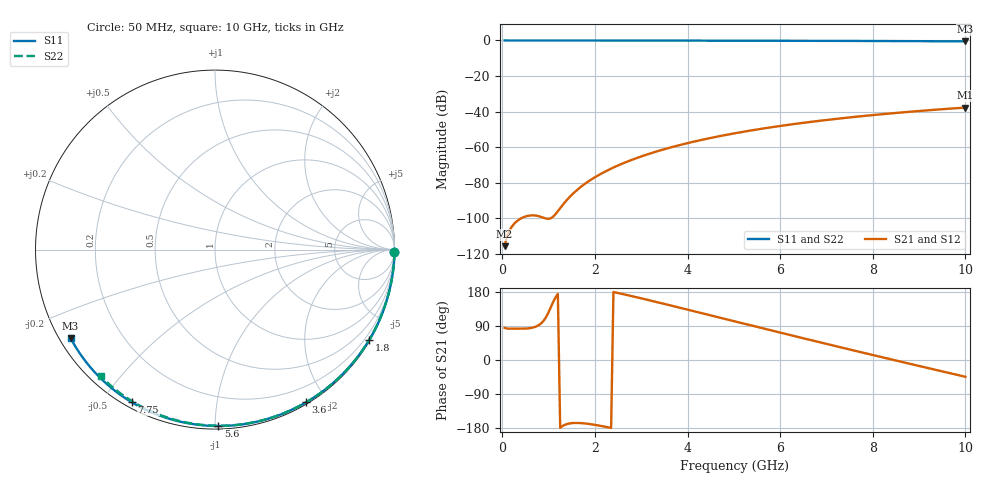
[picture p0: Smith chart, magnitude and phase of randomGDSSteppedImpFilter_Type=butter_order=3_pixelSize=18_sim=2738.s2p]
! freq	dB(S11)	phase(S11)	dB(S12)	phase(S12)
!  dB(S21)	phase(S21)	dB(S22)	phase(S22)
!S-par simulation data
#  GHz  S  DB  R 50
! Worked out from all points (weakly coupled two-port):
!   200 points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, 50 MHz to 10 GHz, reference 50 ohm
!   highest |S21| = -37.76 dB at 10 GHz (marker M1); lowest = -115.8 dB at 50 MHz (marker M2)
!   lowest |S11| = -0.5 dB at 10 GHz (marker M3), VSWR 34.53, Z = 1.56 - j14.1 ohm
!   |S11| at or under -10 dB: nowhere
!   |S22| runs from -0.4 to 0.0 dB; largest |S21 - S12| = 0
!   S11 on the Smith chart (normalised r, x): 50 MHz: open; 1.8 GHz: 0.03, -3.69; 3.6 GHz: 0.02, -1.76; 5.6 GHz: 0.02, -1.02; 7.75 GHz: 0.02, -0.59; 10 GHz: 0.03, -0.28
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0.05  -0.00 -0.9  -115.76 84.9  -115.76 84.9  -0.00 -0.8
0.45  -0.01 -7.7  -99.54 82.7  -99.54 82.7  -0.01 -6.9
0.9  -0.02 -15.3  -99.85 104.8  -99.85 104.8  -0.02 -13.7
1.75  -0.04 -29.5  -81.32 -167.0  -81.32 -167.0  -0.03 -26.3
1.8  -0.04 -30.4  -80.37 -167.6  -80.37 -167.6  -0.03 -27.1
1.85  -0.04 -31.2  -79.47 -168.4  -79.47 -168.4  -0.04 -27.8
2.05  -0.04 -34.5  -76.21 -172.2  -76.21 -172.2  -0.04 -30.7
2.2  -0.05 -36.9  -74.07 -175.6  -74.07 -175.6  -0.04 -32.9
2.55  -0.05 -42.6  -69.77 175.4  -69.77 175.4  -0.05 -38.0
2.95  -0.06 -49.0  -65.73 164.2  -65.73 164.2  -0.06 -43.8
3.4  -0.07 -56.1  -61.94 151.0  -61.94 151.0  -0.07 -50.1
3.6  -0.08 -59.2  -60.46 145.0  -60.46 145.0  -0.07 -52.9
4.3  -0.10 -69.9  -55.98 123.8  -55.98 123.8  -0.09 -62.5
5.05  -0.12 -81.0  -52.09 101.1  -52.09 101.1  -0.11 -72.5
5.6  -0.15 -89.0  -49.69 84.4  -49.69 84.4  -0.13 -79.7
6.15  -0.17 -96.7  -47.57 67.8  -47.57 67.8  -0.15 -86.6
6.7  -0.20 -104.4  -45.69 51.4  -45.69 51.4  -0.18 -93.5
7.2  -0.24 -111.2  -44.16 36.6  -44.16 36.6  -0.21 -99.5
7.75  -0.28 -118.6  -42.63 20.4  -42.63 20.4  -0.24 -106.1
8.35  -0.33 -126.6  -41.14 3.0  -41.14 3.0  -0.29 -113.1
9.2  -0.41 -137.9  -39.28 -21.5  -39.28 -21.5  -0.36 -122.9
10  -0.50 -148.5  -37.76 -44.3  -37.76 -44.3  -0.44 -132.0
